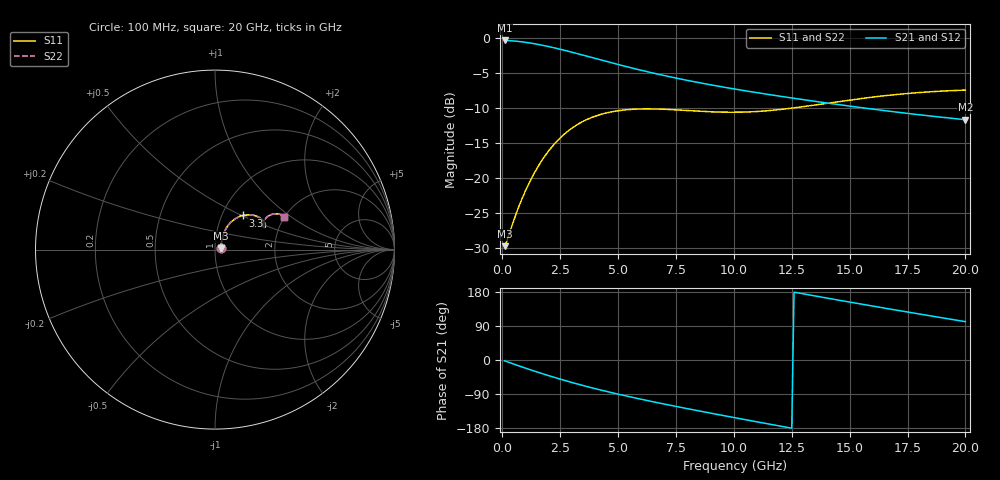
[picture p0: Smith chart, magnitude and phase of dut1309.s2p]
! Touchstone file exported from HFSS 2024.1.0
!  File:  C:/UserFiles/LocalFiles/RDL_TSV_Batchsim/temp_RDL_TSV_1309_1780384281.aedt
!  Generated:  03:28:07 PM Jun  2, 2026
!  Design:  RDL_TSV
!  Project:  temp_RDL_TSV_1309_1780384281
!  Setup:  Setup1
!  Solution:  Sweep
! Variables:
!  dtsv = 10.51um
!  hbump = 3um
!  htsv = 78.71um
!  ldown = 555.17um
!  lrdl = 504.78um
!  p = 40
!  p1 = 44.25um
!  rhole = 10um
!  subl = 3684.63um
!  t = 450um
!  tdown = 3.53um
!  trdl = 3.22um
!  viad = 10um
!  wdown = 13.6um
!  wrdl = 10.9um
!  xbump = 18um
# GHz S MA R 50.000000
! Terminal data exported
! Port[1] = TM1_1_T1
! Port[2] = TM1_4_T1
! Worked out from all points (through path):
!   200 points, 100 MHz to 20 GHz, reference 50 ohm
!   highest |S21| = -0.28 dB at 100 MHz (marker M1); lowest = -11.6 dB at 20 GHz (marker M2)
!   group delay of S21, straight-line fit = 34 ps
!   lowest |S11| = -29.7 dB at 100 MHz (marker M3), VSWR 1.07, Z = 53.3 + j0.8 ohm
!   |S11| at or under -10 dB: start of sweep to 12.39 GHz
!   |S22| runs from -29.7 to -7.4 dB; largest |S21 - S12| = 1e-14
!   S11 on the Smith chart (normalised r, x): 100 MHz: 1.07, +0.02; 3.3 GHz: 1.26, +0.51; 20 GHz: 1.99, +0.90
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0.1  0.03285 13.2  0.9678 -2.2  0.9678 -2.2  0.03285 13.2
! Gamma 0 0 0 0
! Port Impedance 50 0 50 0
0.5  0.05041 45.0  0.9593 -10.9  0.9593 -10.9  0.05041 45.0
0.9  0.07487 56.9  0.9437 -19.3  0.9437 -19.3  0.07487 57.0
1.2  0.09577 60.9  0.9283 -25.5  0.9283 -25.5  0.09577 60.9
1.6  0.126 62.4  0.9037 -33.5  0.9037 -33.5  0.126 62.4
2  0.1573 61.3  0.8757 -41.2  0.8757 -41.2  0.1573 61.3
2.4  0.1877 58.7  0.8455 -48.7  0.8455 -48.7  0.1877 58.7
2.8  0.2157 55.3  0.8142 -55.8  0.8142 -55.8  0.2158 55.3
3.3  0.246 50.6  0.7748 -64.3  0.7748 -64.3  0.2461 50.6
3.5  0.2564 48.7  0.7592 -67.5  0.7592 -67.5  0.2565 48.7
4.2  0.2852 42.3  0.7066 -78.5  0.7066 -78.5  0.2853 42.3
5.1  0.3062 35.2  0.6455 -91.5  0.6455 -91.5  0.3065 35.3
5.9  0.3134 30.4  0.5981 -102.3  0.5981 -102.3  0.3137 30.4
6.8  0.3129 26.6  0.5523 -113.9  0.5523 -113.9  0.3133 26.6
8.4  0.3029 24.0  0.4869 -133.3  0.4869 -133.3  0.3033 24.0
10.1  0.2973 25.9  0.4337 -153.0  0.4337 -153.0  0.2976 25.9
11.7  0.3073 29.3  0.3934 -171.1  0.3934 -171.1  0.3076 29.3
13.4  0.3329 31.8  0.3576 170.2  0.3576 170.2  0.3332 31.8
15.1  0.3651 32.0  0.3271 151.8  0.3271 151.8  0.3653 32.0
16.7  0.393 30.5  0.3025 134.9  0.3025 134.9  0.3933 30.5
18.3  0.4142 28.2  0.2815 118.4  0.2815 118.4  0.4145 28.1
20  0.4278 25.5  0.263 101.2  0.263 101.2  0.4282 25.5
